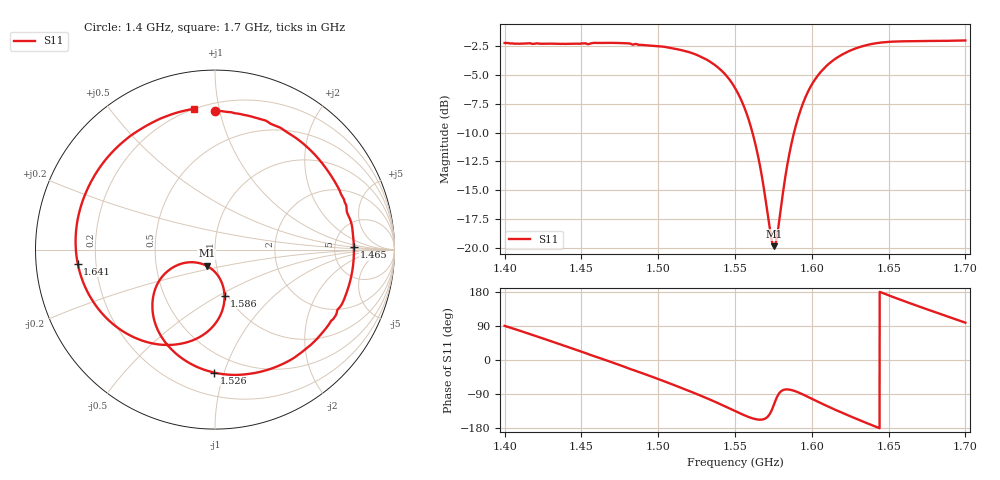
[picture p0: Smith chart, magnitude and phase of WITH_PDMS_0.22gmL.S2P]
!Keysight Technologies,E5063A,MY54503975,A.05.08
!Date: Fri Mar 07 05:19:46 2025
!Data & Calibration Information:
!Freq	S11:NONE(--)	S21:RESPT(ON)	S12:NONE(--)	S22:NONE(--)
# Hz S RI R 50
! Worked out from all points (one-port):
!   3001 points, 1.4 GHz to 1.7 GHz, reference 50 ohm
!   lowest |S11| = -19.9 dB at 1.575 GHz (marker M1), VSWR 1.23, Z = 44.9 - j8.19 ohm
!   |S11| at or under -10 dB: 1.561 GHz to 1.588 GHz (27.1 MHz wide, 1.72 % of centre)
!   S11 on the Smith chart (normalised r, x): 1.4 GHz: 0.25, +0.97; 1.465 GHz: 7.81, +0.52; 1.526 GHz: 0.36, -0.92; 1.586 GHz: 0.97, -0.53; 1.641 GHz: 0.13, -0.05; 1.7 GHz: 0.20, +0.84
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1.4e9  -0.000703 0.7733  -0 -0  0 0  0 0
1.4218e9  0.373 0.6733  0 -0  0 0  0 0
1.45e9  0.7137 0.2874  -0 0  0 0  0 0
1.4649e9  0.7738 0.0134  -0 0  0 0  0 0
1.4802e9  0.7182 -0.28  -0 0  0 0  0 0
1.5e9  0.4785 -0.5751  0 -0  0 0  0 0
1.5131e9  0.2425 -0.6832  0 0  0 0  0 0
1.5255e9  -0.00591 -0.6847  0 0  0 0  0 0
1.5372e9  -0.2184 -0.5786  0 0  0 0  0 0
1.55e9  -0.3467 -0.3511  0 -0  0 0  0 0
1.5625e9  -0.2681 -0.1238  0 0  0 0  0 0
1.5754e9  -0.0464 -0.0904  0 0  0 0  0 0
1.5857e9  0.0529 -0.2564  0 0  0 0  0 0
1.5924e9  0.0167 -0.3902  0 0  0 0  0 0
1.6e9  -0.1089 -0.4989  0 -0  0 0  0 0
1.6085e9  -0.2919 -0.5304  0 -0  0 0  0 0
1.6176e9  -0.4818 -0.4736  -0 0  0 0  0 0
1.6294e9  -0.6715 -0.3009  -0 0  0 0  0 0
1.6405e9  -0.7651 -0.0776  -0 -0  0 0  0 0
1.65e9  -0.7718 0.126  -0 -0  0 0  0 0
1.6762e9  -0.5288 0.586  -0 -0  0 0  0 0
1.7e9  -0.117 0.7845  -0 -0  0 0  0 0
